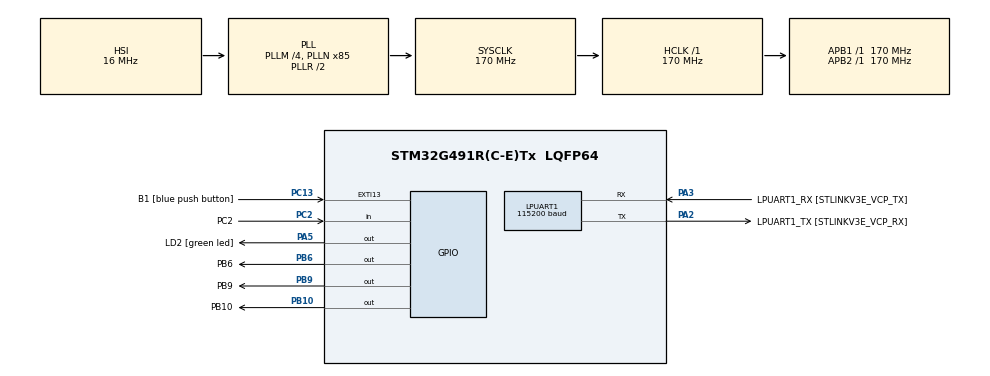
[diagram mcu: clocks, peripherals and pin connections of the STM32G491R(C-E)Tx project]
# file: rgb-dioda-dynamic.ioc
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LPUART1.BaudRate=115200
LPUART1.WordLength=UART_WORDLENGTH_8B
Mcu.Family=STM32G4
Mcu.Name=STM32G491R(C-E)Tx
Mcu.Package=LQFP64
NVIC.EXTI15_10_IRQn=true\:0\:0\:false\:false\:true\:true\:true\:true
NVIC.PriorityGroup=NVIC_PRIORITYGROUP_4
NVIC.TIM1_UP_TIM16_IRQn=true\:0\:0\:false\:false\:true\:true\:true\:true
PA13.GPIO_Label=T_SWDIO
PA13.Mode=Serial_Wire
PA13.Signal=SYS_JTMS-SWDIO
PA14.GPIO_Label=T_SWCLK
PA14.Mode=Serial_Wire
PA14.Signal=SYS_JTCK-SWCLK
PA2.GPIO_Label=LPUART1_TX [STLINKV3E_VCP_RX]
PA2.Mode=Asynchronous
PA2.Signal=LPUART1_TX
PA3.GPIO_Label=LPUART1_RX [STLINKV3E_VCP_TX]
PA3.Mode=Asynchronous
PA3.Signal=LPUART1_RX
PA5.GPIO_Label=LD2 [green led]
PA5.Signal=GPIO_Output
PB10.GPIO_Label=PB10
PB10.Signal=GPIO_Output
PB3.GPIO_Label=T_SWO
PB3.Signal=SYS_JTDO-SWO
PB6.GPIO_Label=PB6
PB6.Signal=GPIO_Output
PB9.GPIO_Label=PB9
PB9.Signal=GPIO_Output
PC13.GPIO_Label=B1 [blue push button]
PC13.Signal=GPXTI13
PC14-OSC32_IN.Mode=LSE-External-Oscillator
PC14-OSC32_IN.Signal=RCC_OSC32_IN
PC15-OSC32_OUT.Mode=LSE-External-Oscillator
PC15-OSC32_OUT.Signal=RCC_OSC32_OUT
PC2.GPIO_Label=PC2
PC2.Signal=GPIO_Input
PF0-OSC_IN.Mode=HSE-External-Oscillator
PF0-OSC_IN.Signal=RCC_OSC_IN
PF1-OSC_OUT.Mode=HSE-External-Oscillator
PF1-OSC_OUT.Signal=RCC_OSC_OUT
ProjectManager.HeapSize=0x200
ProjectManager.StackSize=0x400
ProjectManager.TargetToolchain=STM32CubeIDE
RCC.ADC12Freq_Value=170000000
RCC.ADC345Freq_Value=170000000
RCC.AHBFreq_Value=170000000
RCC.APB1Freq_Value=170000000
RCC.APB1TimFreq_Value=170000000
RCC.APB2Freq_Value=170000000
RCC.APB2TimFreq_Value=170000000
RCC.CortexFreq_Value=170000000
RCC.EXTERNAL_CLOCK_VALUE=12288000
RCC.HCLKFreq_Value=170000000
RCC.HSE_VALUE=24000000
RCC.HSI48_VALUE=48000000
RCC.HSI_VALUE=16000000
RCC.PLLM=RCC_PLLM_DIV4
RCC.PLLN=85
RCC.RTCClockSelection=RCC_RTCCLKSOURCE_LSE
RCC.SYSCLKFreq_VALUE=170000000
RCC.SYSCLKSource=RCC_SYSCLKSOURCE_PLLCLK
RCC.USBFreq_Value=48000000
RCC.VCOOutputFreq_Value=340000000
TIM16.AutoReloadPreload=TIM_AUTORELOAD_PRELOAD_ENABLE
TIM16.PeriodNoDither=9999
TIM16.Prescaler=16999
VP_SYS_VS_DBSignals.Mode=DisableDeadBatterySignals
VP_TIM16_VS_ClockSourceINT.Mode=Enable_Timer
board=NUCLEO-G491RE

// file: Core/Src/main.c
/* USER CODE BEGIN Header */
/**
  ******************************************************************************
  * @file           : main.c
  * @brief          : Main program body
  ******************************************************************************
  * @attention
  *
  * Copyright (c) 2023 STMicroelectronics.
  * All rights reserved.
  *
  * This software is licensed under terms that can be found in the LICENSE file
  * in the root directory of this software component.
  * If no LICENSE file comes with this software, it is provided AS-IS.
  *
  ******************************************************************************
  */
/* USER CODE END Header */
#include "main.h"

UART_HandleTypeDef hlpuart1;

TIM_HandleTypeDef htim16;

/* USER CODE BEGIN PV */
volatile uint8_t dupa=0;
/* USER CODE END PV */

void SystemClock_Config(void);
static void MX_GPIO_Init(void);
static void MX_LPUART1_UART_Init(void);
static void MX_TIM16_Init(void);
/* USER CODE BEGIN PFP */
void pin(GPIO_TypeDef* port, uint16_t pin, uint8_t bool){
	GPIO_InitTypeDef GPIO_InitStruct = {0};
	switch(bool){
	case 0:
		 GPIO_InitStruct.Pin = pin;
		 GPIO_InitStruct.Mode = GPIO_MODE_OUTPUT_PP;
		 GPIO_InitStruct.Pull = GPIO_NOPULL;
		 GPIO_InitStruct.Speed = GPIO_SPEED_FREQ_LOW;
		 HAL_GPIO_Init(GPIOB, &GPIO_InitStruct);
		 break;
	case 1:
		 GPIO_InitStruct.Pin = pin;
		 GPIO_InitStruct.Mode = GPIO_MODE_INPUT;
		 GPIO_InitStruct.Pull = GPIO_NOPULL;
		 HAL_GPIO_Init(port, &GPIO_InitStruct);
		 break;
	}
}
void HAL_TIM_PeriodElapsedCallback(TIM_HandleTypeDef *htim)
{
	if(dupa==0){
		HAL_GPIO_TogglePin(PB6_GPIO_Port, PB6_Pin);
	}
	if(dupa==1){
		HAL_GPIO_TogglePin(PB6_GPIO_Port, PB6_Pin);
		HAL_GPIO_TogglePin(PB10_GPIO_Port, PB10_Pin);
	}
	if(dupa==2){
		HAL_GPIO_TogglePin(PB10_GPIO_Port, PB10_Pin);
		HAL_GPIO_TogglePin(PB9_GPIO_Port, PB9_Pin);
	}
	dupa++;
	if(dupa>2){
		HAL_GPIO_TogglePin(PB9_GPIO_Port, PB9_Pin);
		dupa=0;
	}

}
/* USER CODE END PFP */

int main(void)
{

  /* MCU Configuration--------------------------------------------------------*/

  /* Reset of all peripherals, Initializes the Flash interface and the Systick. */
  HAL_Init();

  /* Configure the system clock */
  SystemClock_Config();

  /* Initialize all configured peripherals */
  MX_GPIO_Init();
  MX_LPUART1_UART_Init();
  MX_TIM16_Init();
  /* USER CODE BEGIN 2 */
  //HAL_TIM_Base_Start_IT(&htim16);
  /* USER CODE END 2 */

  /* Infinite loop */
  /* USER CODE BEGIN WHILE */
  while (1)
  {
	  HAL_GPIO_TogglePin(PB9_GPIO_Port, PB9_Pin);
//	 /* pin(PB10_GPIO_Port,PB10_Pin,0);
//	  pin(PB6_GPIO_Port,PB6_Pin,0);
//	  pin(PB9_GPIO_Port,PB9_Pin,0);
//	  HAL_GPIO_WritePin(PB10_GPIO_Port, PB10_Pin, GPIO_PIN_RESET);
//	  HAL_GPIO_WritePin(PB9_GPIO_Port, PB9_Pin, GPIO_PIN_RESET);
//	  HAL_GPIO_WritePin(PB6_GPIO_Port, PB6_Pin, GPIO_PIN_RESET);
//	  HAL_GPIO_WritePin(PB10_GPIO_Port, PB10_Pin, GPIO_PIN_SET);
//	  HAL_Delay(1000);
//	  pin(PB10_GPIO_Port,PB10_Pin,1);
//	  HAL_Delay(1000);
//	  HAL_GPIO_WritePin(PB6_GPIO_Port, PB6_Pin, GPIO_PIN_SET);
//	  HAL_Delay(1000);
//	  pin(PB6_GPIO_Port,PB6_Pin,1);
//	  HAL_Delay(1000);
//	  HAL_GPIO_WritePin(PB9_GPIO_Port, PB9_Pin, GPIO_PIN_SET);
//	  HAL_Delay(1000);
//	  pin(PB9_GPIO_Port,PB9_Pin,1);
//	  HAL_Delay(1000);

    /* USER CODE END WHILE */

  }
}

void SystemClock_Config(void)
{
  RCC_OscInitTypeDef RCC_OscInitStruct = {0};
  RCC_ClkInitTypeDef RCC_ClkInitStruct = {0};

  /** Configure the main internal regulator output voltage
  */
  HAL_PWREx_ControlVoltageScaling(PWR_REGULATOR_VOLTAGE_SCALE1_BOOST);

  /** Initializes the RCC Oscillators according to the specified parameters
  * in the RCC_OscInitTypeDef structure.
  */
  RCC_OscInitStruct.OscillatorType = RCC_OSCILLATORTYPE_HSI;
  RCC_OscInitStruct.HSIState = RCC_HSI_ON;
  RCC_OscInitStruct.HSICalibrationValue = RCC_HSICALIBRATION_DEFAULT;
  RCC_OscInitStruct.PLL.PLLState = RCC_PLL_ON;
  RCC_OscInitStruct.PLL.PLLSource = RCC_PLLSOURCE_HSI;
  RCC_OscInitStruct.PLL.PLLM = RCC_PLLM_DIV4;
  RCC_OscInitStruct.PLL.PLLN = 85;
  RCC_OscInitStruct.PLL.PLLP = RCC_PLLP_DIV2;
  RCC_OscInitStruct.PLL.PLLQ = RCC_PLLQ_DIV2;
  RCC_OscInitStruct.PLL.PLLR = RCC_PLLR_DIV2;
  if (HAL_RCC_OscConfig(&RCC_OscInitStruct) != HAL_OK)
  {
    Error_Handler();
  }

  /** Initializes the CPU, AHB and APB buses clocks
  */
  RCC_ClkInitStruct.ClockType = RCC_CLOCKTYPE_HCLK|RCC_CLOCKTYPE_SYSCLK
                              |RCC_CLOCKTYPE_PCLK1|RCC_CLOCKTYPE_PCLK2;
  RCC_ClkInitStruct.SYSCLKSource = RCC_SYSCLKSOURCE_PLLCLK;
  RCC_ClkInitStruct.AHBCLKDivider = RCC_SYSCLK_DIV1;
  RCC_ClkInitStruct.APB1CLKDivider = RCC_HCLK_DIV1;
  RCC_ClkInitStruct.APB2CLKDivider = RCC_HCLK_DIV1;

  if (HAL_RCC_ClockConfig(&RCC_ClkInitStruct, FLASH_LATENCY_4) != HAL_OK)
  {
    Error_Handler();
  }
}

static void MX_LPUART1_UART_Init(void)
{

  hlpuart1.Instance = LPUART1;
  hlpuart1.Init.BaudRate = 115200;
  hlpuart1.Init.WordLength = UART_WORDLENGTH_8B;
  hlpuart1.Init.StopBits = UART_STOPBITS_1;
  hlpuart1.Init.Parity = UART_PARITY_NONE;
  hlpuart1.Init.Mode = UART_MODE_TX_RX;
  hlpuart1.Init.HwFlowCtl = UART_HWCONTROL_NONE;
  hlpuart1.Init.OneBitSampling = UART_ONE_BIT_SAMPLE_DISABLE;
  hlpuart1.Init.ClockPrescaler = UART_PRESCALER_DIV1;
  hlpuart1.AdvancedInit.AdvFeatureInit = UART_ADVFEATURE_NO_INIT;
  if (HAL_UART_Init(&hlpuart1) != HAL_OK)
  {
    Error_Handler();
  }
  if (HAL_UARTEx_SetTxFifoThreshold(&hlpuart1, UART_TXFIFO_THRESHOLD_1_8) != HAL_OK)
  {
    Error_Handler();
  }
  if (HAL_UARTEx_SetRxFifoThreshold(&hlpuart1, UART_RXFIFO_THRESHOLD_1_8) != HAL_OK)
  {
    Error_Handler();
  }
  if (HAL_UARTEx_DisableFifoMode(&hlpuart1) != HAL_OK)
  {
    Error_Handler();
  }

}

static void MX_TIM16_Init(void)
{

  htim16.Instance = TIM16;
  htim16.Init.Prescaler = 16999;
  htim16.Init.CounterMode = TIM_COUNTERMODE_UP;
  htim16.Init.Period = 9999;
  htim16.Init.ClockDivision = TIM_CLOCKDIVISION_DIV1;
  htim16.Init.RepetitionCounter = 0;
  htim16.Init.AutoReloadPreload = TIM_AUTORELOAD_PRELOAD_ENABLE;
  if (HAL_TIM_Base_Init(&htim16) != HAL_OK)
  {
    Error_Handler();
  }

}

static void MX_GPIO_Init(void)
{
  GPIO_InitTypeDef GPIO_InitStruct = {0};

  /* GPIO Ports Clock Enable */
  __HAL_RCC_GPIOC_CLK_ENABLE();
  __HAL_RCC_GPIOF_CLK_ENABLE();
  __HAL_RCC_GPIOA_CLK_ENABLE();
  __HAL_RCC_GPIOB_CLK_ENABLE();

  /*Configure GPIO pin Output Level */
  HAL_GPIO_WritePin(LD2_GPIO_Port, LD2_Pin, GPIO_PIN_RESET);

  /*Configure GPIO pin Output Level */
  HAL_GPIO_WritePin(GPIOB, PB10_Pin|PB6_Pin|PB9_Pin, GPIO_PIN_RESET);

  /*Configure GPIO pin : B1_Pin */
  GPIO_InitStruct.Pin = B1_Pin;
  GPIO_InitStruct.Mode = GPIO_MODE_IT_RISING;
  GPIO_InitStruct.Pull = GPIO_NOPULL;
  HAL_GPIO_Init(B1_GPIO_Port, &GPIO_InitStruct);

  /*Configure GPIO pin : PC2_Pin */
  GPIO_InitStruct.Pin = PC2_Pin;
  GPIO_InitStruct.Mode = GPIO_MODE_INPUT;
  GPIO_InitStruct.Pull = GPIO_NOPULL;
  HAL_GPIO_Init(PC2_GPIO_Port, &GPIO_InitStruct);

  /*Configure GPIO pin : LD2_Pin */
  GPIO_InitStruct.Pin = LD2_Pin;
  GPIO_InitStruct.Mode = GPIO_MODE_OUTPUT_PP;
  GPIO_InitStruct.Pull = GPIO_NOPULL;
  GPIO_InitStruct.Speed = GPIO_SPEED_FREQ_LOW;
  HAL_GPIO_Init(LD2_GPIO_Port, &GPIO_InitStruct);

  /*Configure GPIO pins : PB10_Pin PB6_Pin PB9_Pin */
  GPIO_InitStruct.Pin = PB10_Pin|PB6_Pin|PB9_Pin;
  GPIO_InitStruct.Mode = GPIO_MODE_OUTPUT_PP;
  GPIO_InitStruct.Pull = GPIO_NOPULL;
  GPIO_InitStruct.Speed = GPIO_SPEED_FREQ_LOW;
  HAL_GPIO_Init(GPIOB, &GPIO_InitStruct);

  /* EXTI interrupt init*/
  HAL_NVIC_SetPriority(EXTI15_10_IRQn, 0, 0);
  HAL_NVIC_EnableIRQ(EXTI15_10_IRQn);

}

void Error_Handler(void)
{
  __disable_irq();
  while (1)
  {
  }
}
